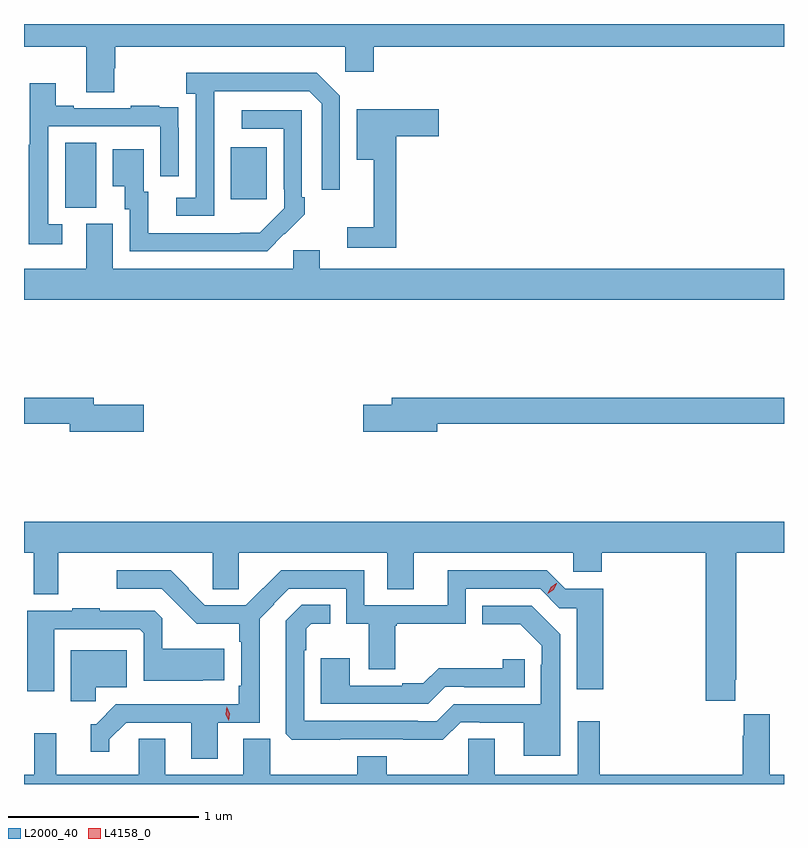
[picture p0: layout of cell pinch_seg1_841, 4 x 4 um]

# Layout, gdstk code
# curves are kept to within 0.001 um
import gdstk
lib = gdstk.Library(unit=1e-6, precision=1e-09)
def R(c, l, rs):  # rectangles x0, y0, x1, y1
    for r in rs: c.add(gdstk.rectangle(r[:2], r[2:], *l))
def P(c, l, *ps):  # polygons
    for p in ps: c.add(gdstk.Polygon(p, *l))
L2000_40 = (2000, 40)
L4158_0 = (4158, 0)

pinch_seg1_841 = lib.new_cell('pinch_seg1_841')
R(pinch_seg1_841, L2000_40, [(432.386,534.901,432.55,535.244), (433.259,534.945,433.447,535.219)])
P(pinch_seg1_841, L2000_40, [(432.645,535.635),(432.65,535.635),(432.65,535.748),(433.86,535.748),(433.86,535.617),(434.012,535.617),(434.012,535.748),(436.17,535.748),(436.17,535.868),(432.17,535.868),(432.17,535.748),(432.497,535.748),(432.497,535.51),(432.645,535.51)],
  [(433.17,535.315),(433.171,535.515),(433.671,535.515),(433.737,535.449),(433.737,534.996),(433.833,534.996),(433.833,535.491),(433.712,535.612),(433.023,535.612),(433.023,535.502),(433.074,535.502),(433.074,534.954),(432.972,534.954),(432.972,534.858),(433.17,534.858)],
  [(432.37,534.813),(432.297,534.813),(432.297,535.329),(432.888,535.329),(432.888,535.068),(432.984,535.068),(432.984,535.322),(432.983,535.322),(432.983,535.431),(432.881,535.431),(432.881,535.438),(432.733,535.438),(432.733,535.425),(432.433,535.425),(432.433,535.438),(432.337,535.438),(432.337,535.555),(432.201,535.555),(432.201,535.232),(432.196,535.232),(432.196,534.708),(432.37,534.708)],
  [(434.129,535.277),(434.353,535.277),(434.353,535.419),(433.922,535.419),(433.922,535.154),(434.012,535.154),(434.012,534.799),(433.872,534.799),(433.872,534.69),(434.129,534.69)],
  [(433.541,534.763),(433.542,534.762),(433.647,534.867),(433.647,534.955),(433.632,534.955),(433.632,535.413),(433.317,535.413),(433.317,535.317),(433.536,535.317),(433.536,534.997),(433.539,534.997),(433.539,534.897),(433.411,534.769),(432.823,534.768),(432.823,534.984),(432.799,534.984),(432.799,535.21),(432.638,535.21),(432.638,535.013),(432.701,535.013),(432.701,534.894),(432.726,534.894),(432.726,534.672),(433.45,534.672)],
  [(436.17,534.58),(433.726,534.58),(433.726,534.678),(433.587,534.678),(433.587,534.58),(432.637,534.58),(432.637,534.816),(432.497,534.816),(432.497,534.58),(432.17,534.58),(432.17,534.416),(436.17,534.416)],
  [(432.799,533.864),(432.538,533.864),(432.538,533.9),(432.17,533.9),(432.17,533.764),(432.41,533.764),(432.41,533.722),(432.799,533.722)],
  [(434.344,533.764),(436.17,533.764),(436.17,533.9),(434.105,533.9),(434.105,533.864),(433.956,533.864),(433.956,533.722),(434.344,533.722)],
  [(435.913,532.417),(435.918,532.417),(435.918,533.084),(436.17,533.084),(436.17,533.248),(432.17,533.248),(432.17,533.084),(432.22,533.084),(432.22,532.866),(432.349,532.866),(432.349,533.084),(433.164,533.084),(433.164,532.894),(433.301,532.894),(433.301,533.084),(434.081,533.084),(434.081,532.894),(434.221,532.894),(434.221,533.084),(435.06,533.084),(435.06,532.986),(435.212,532.986),(435.212,533.084),(435.758,533.084),(435.758,532.305),(435.913,532.305)],
  [(433.189,532.191),(433.411,532.191),(433.411,532.738),(433.488,532.815),(433.485,532.818),(433.563,532.896),(433.866,532.896),(433.866,532.712),(433.985,532.712),(433.985,532.471),(434.125,532.471),(434.125,532.701),(434.133,532.701),(434.133,532.711),(434.496,532.711),(434.496,532.896),(434.886,532.896),(434.988,532.794),(435.08,532.794),(435.08,532.368),(435.218,532.368),(435.218,532.896),(435.018,532.896),(434.922,532.992),(434.399,532.992),(434.399,532.809),(433.962,532.809),(433.962,532.992),(433.523,532.992),(433.338,532.809),(433.122,532.809),(433.035,532.896),(433.037,532.898),(432.943,532.992),(432.657,532.992),(432.657,532.896),(432.894,532.896),(433.078,532.712),(433.302,532.712),(433.302,532.616),(433.314,532.616),(433.314,532.384),(433.3,532.384),(433.3,532.287),(432.654,532.287),(432.549,532.182),(432.521,532.182),(432.521,532.038),(432.619,532.038),(432.619,532.103),(432.707,532.191),(433.049,532.191),(433.049,532.002),(433.189,532.002)],
  [(434.992,532.656),(434.842,532.806),(434.583,532.806),(434.583,532.709),(434.783,532.709),(434.895,532.596),(434.895,532.496),(434.891,532.496),(434.891,532.287),(434.433,532.287),(434.343,532.197),(434.243,532.197),(434.243,532.2),(433.644,532.2),(433.644,532.571),(433.656,532.571),(433.656,532.686),(433.682,532.712),(433.781,532.712),(433.781,532.811),(433.631,532.811),(433.548,532.728),(433.547,532.133),(433.579,532.1),(433.835,532.1),(433.835,532.104),(434.167,532.104),(434.167,532.1),(434.375,532.1),(434.469,532.194),(434.569,532.194),(434.569,532.191),(434.801,532.191),(434.801,532.016),(434.992,532.016)],
  [(432.328,532.683),(432.78,532.683),(432.801,532.662),(432.801,532.412),(433.225,532.413),(433.225,532.579),(432.897,532.579),(432.897,532.74),(432.858,532.779),(432.569,532.779),(432.569,532.792),(432.424,532.792),(432.424,532.779),(432.188,532.779),(432.188,532.356),(432.328,532.356)],
  [(432.548,532.376),(432.712,532.376),(432.712,532.573),(432.416,532.573),(432.416,532.304),(432.548,532.304)],
  [(434.388,532.38),(434.488,532.38),(434.488,532.377),(434.806,532.377),(434.806,532.525),(434.69,532.525),(434.69,532.478),(434.352,532.478),(434.272,532.398),(434.162,532.398),(434.162,532.386),(433.885,532.386),(433.885,532.531),(433.733,532.531),(433.733,532.29),(434.298,532.29)],
  [(436.17,531.916),(436.096,531.916),(436.096,532.234),(435.959,532.234),(435.959,532.121),(435.953,532.121),(435.953,531.916),(435.2,531.916),(435.2,532.198),(435.084,532.198),(435.084,531.916),(434.647,531.916),(434.647,532.106),(434.508,532.106),(434.508,531.916),(434.079,531.916),(434.079,532.015),(433.924,532.015),(433.924,531.916),(433.465,531.916),(433.465,532.106),(433.325,532.106),(433.325,531.916),(432.913,531.916),(432.913,532.106),(432.774,532.106),(432.774,531.916),(432.341,531.916),(432.341,532.135),(432.223,532.135),(432.223,531.916),(432.17,531.916),(432.17,531.868),(436.17,531.868)])
P(pinch_seg1_841, L4158_0, [(433.247,532.202),(433.247,532.202),(433.232,532.236),(433.237,532.274),(433.238,532.274),(433.238,532.274),(433.252,532.239),(433.247,532.202)],
  [(434.927,532.869),(434.927,532.869),(434.942,532.903),(434.972,532.924),(434.973,532.924),(434.973,532.924),(434.957,532.89),(434.927,532.869)])

lib.write_gds('pinch_seg1_841.gds')
